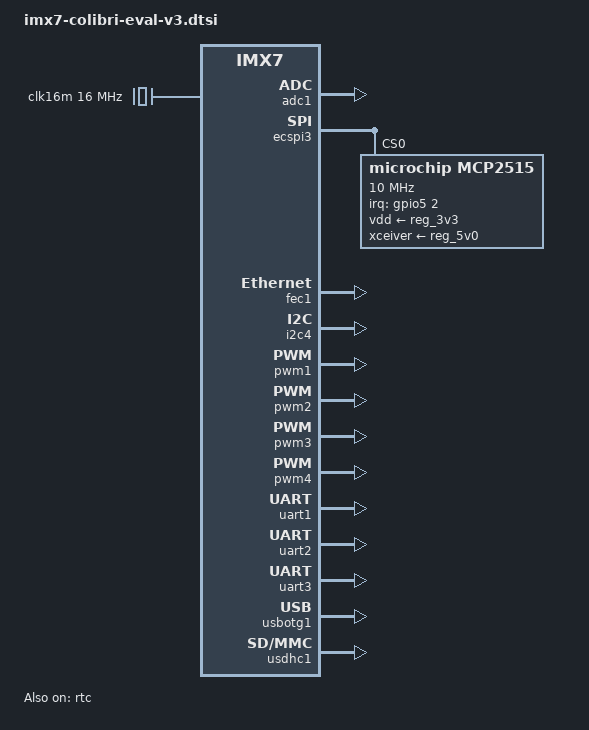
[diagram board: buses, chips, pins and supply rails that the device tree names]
// SPDX-License-Identifier: GPL-2.0-or-later OR MIT
/*
 * Copyright 2016-2022 Toradex
 */

/ {
	/* Fixed crystal dedicated to MCP2515. */
	clk16m: clk16m {
		compatible = "fixed-clock";
		#clock-cells = <0>;
		clock-frequency = <16000000>;
	};
};

/* Colibri AD0 to AD3 */
&adc1 {
	status = "okay";
};

/*
 * The Atmel maxtouch controller uses SODIMM 28/30, also used for PWM<B>, PWM<C>, aka pwm2, pwm3.
 * So if you enable following capacitive touch controller, disable pwm2/pwm3 first.
 */
&atmel_mxt_ts {
	interrupt-parent = <&gpio1>;
	interrupts = <9 IRQ_TYPE_EDGE_FALLING>;		/* SODIMM 28 / INT */
	pinctrl-0 = <&pinctrl_atmel_adapter>;
	reset-gpios = <&gpio1 10 GPIO_ACTIVE_LOW>;	/* SODIMM 30 / RST */
	status = "disabled";
};

/* Colibri SSP */
&ecspi3 {
	status = "okay";

	mcp2515: can@0 {
		clocks = <&clk16m>;
		compatible = "microchip,mcp2515";
		interrupt-parent = <&gpio5>;
		interrupts = <2 IRQ_TYPE_EDGE_FALLING>;
		pinctrl-names = "default";
		pinctrl-0 = <&pinctrl_can_int>;
		reg = <0>;
		spi-max-frequency = <10000000>;
		vdd-supply = <&reg_3v3>;
		xceiver-supply = <&reg_5v0>;
	};
};

/* Colibri Fast Ethernet */
&fec1 {
	status = "okay";
};

/* Colibri I2C: I2C3_SDA/SCL on SODIMM 194/196 */
&i2c4 {
	status = "okay";
};

/* Colibri PWM<A> */
&pwm1 {
	status = "okay";
};

/* Colibri PWM<B> */
&pwm2 {
	/* The pwm2 should be disabled to enable atmel_mxt_ts touchscreen for adapter. */
	status = "okay";
};

/* Colibri PWM<C> */
&pwm3 {
	/* The pwm3 should be disabled to enable atmel_mxt_ts touchscreen for adapter. */
	status = "okay";
};

/* Colibri PWM<D> */
&pwm4 {
	status = "okay";
};

/* M41T0M6 real time clock */
&rtc {
	status = "okay";
};

/* Colibri UART_A */
&uart1 {
	status = "okay";
};

/* Colibri UART_B */
&uart2 {
	status = "okay";
};

/* Colibri UART_C */
&uart3 {
	status = "okay";
};

/* Colibri USBC */
&usbotg1 {
	disable-over-current;
	status = "okay";
};

/* Colibri MMC/SD */
&usdhc1 {
	status = "okay";
};
